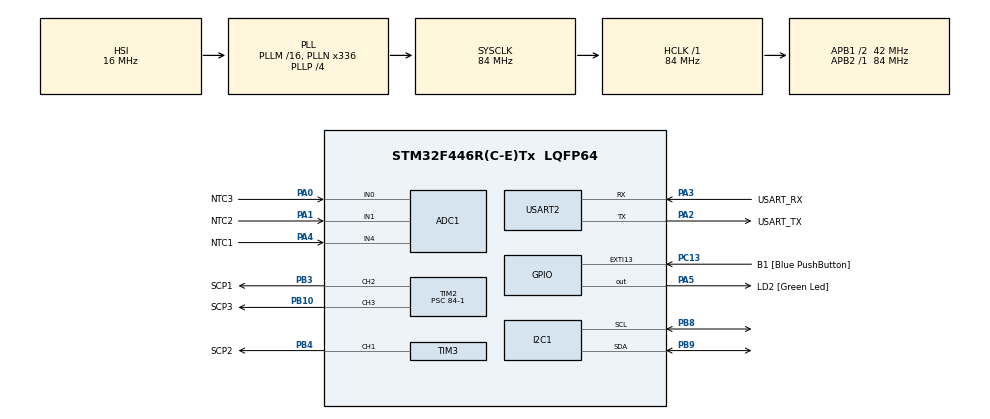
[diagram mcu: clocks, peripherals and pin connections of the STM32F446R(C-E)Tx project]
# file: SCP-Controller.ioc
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ADC1.Channel-0\#ChannelRegularConversion=ADC_CHANNEL_0
ADC1.NbrOfConversionFlag=1
ADC1.Rank-0\#ChannelRegularConversion=1
ADC1.SamplingTime-0\#ChannelRegularConversion=ADC_SAMPLETIME_3CYCLES
ADC1.master=1
Mcu.Family=STM32F4
Mcu.Name=STM32F446R(C-E)Tx
Mcu.Package=LQFP64
NVIC.PriorityGroup=NVIC_PRIORITYGROUP_0
NVIC.USART2_IRQn=true\:0\:0\:false\:false\:true\:true\:true
PA0-WKUP.GPIO_Label=NTC3
PA0-WKUP.Signal=ADCx_IN0
PA1.GPIO_Label=NTC2
PA1.Signal=ADCx_IN1
PA13.GPIO_Label=TMS
PA13.Mode=Serial_Wire
PA13.Signal=SYS_JTMS-SWDIO
PA14.GPIO_Label=TCK
PA14.Mode=Serial_Wire
PA14.Signal=SYS_JTCK-SWCLK
PA2.GPIO_Label=USART_TX
PA2.Mode=Asynchronous
PA2.Signal=USART2_TX
PA3.GPIO_Label=USART_RX
PA3.Mode=Asynchronous
PA3.Signal=USART2_RX
PA4.GPIO_Label=NTC1
PA4.Signal=ADCx_IN4
PA5.GPIO_Label=LD2 [Green Led]
PA5.Signal=GPIO_Output
PB10.GPIO_Label=SCP3
PB10.Signal=S_TIM2_CH3
PB3.GPIO_Label=SCP1
PB3.Signal=S_TIM2_CH2
PB4.GPIO_Label=SCP2
PB4.Signal=S_TIM3_CH1
PB8.Mode=I2C
PB8.Signal=I2C1_SCL
PB9.Mode=I2C
PB9.Signal=I2C1_SDA
PC13.GPIO_Label=B1 [Blue PushButton]
PC13.GPIO_ModeDefaultEXTI=GPIO_MODE_IT_FALLING
PC13.Signal=GPXTI13
PC14-OSC32_IN.Mode=LSE-External-Oscillator
PC14-OSC32_IN.Signal=RCC_OSC32_IN
PC15-OSC32_OUT.Mode=LSE-External-Oscillator
PC15-OSC32_OUT.Signal=RCC_OSC32_OUT
PH0-OSC_IN.Mode=HSE-External-Oscillator
PH0-OSC_IN.Signal=RCC_OSC_IN
PH1-OSC_OUT.Mode=HSE-External-Oscillator
PH1-OSC_OUT.Signal=RCC_OSC_OUT
ProjectManager.HeapSize=0x200
ProjectManager.StackSize=0x400
ProjectManager.TargetToolchain=STM32CubeIDE
RCC.48MHZClocksFreq_Value=84000000
RCC.AHBFreq_Value=84000000
RCC.APB1CLKDivider=RCC_HCLK_DIV2
RCC.APB1Freq_Value=42000000
RCC.APB1TimFreq_Value=84000000
RCC.APB2Freq_Value=84000000
RCC.APB2TimFreq_Value=84000000
RCC.CortexFreq_Value=84000000
RCC.FLatency-AdvancedSettings=FLASH_LATENCY_2
RCC.HCLKFreq_Value=84000000
RCC.HSE_VALUE=8000000
RCC.HSI_VALUE=16000000
RCC.PLLN=336
RCC.PLLP=RCC_PLLP_DIV4
RCC.SYSCLKFreq_VALUE=84000000
RCC.SYSCLKSource=RCC_SYSCLKSOURCE_PLLCLK
RCC.USBFreq_Value=168000000
RCC.VCOOutputFreq_Value=336000000
SH.ADCx_IN0.0=ADC1_IN0,IN0
SH.ADCx_IN1.0=ADC1_IN1,IN1
SH.ADCx_IN4.0=ADC1_IN4,IN4
SH.S_TIM2_CH2.0=TIM2_CH2,PWM Generation2 CH2
SH.S_TIM2_CH3.0=TIM2_CH3,PWM Generation3 CH3
SH.S_TIM3_CH1.0=TIM3_CH1,PWM Generation1 CH1
TIM2.Channel-PWM\ Generation2\ CH2=TIM_CHANNEL_2
TIM2.Channel-PWM\ Generation3\ CH3=TIM_CHANNEL_3
TIM2.Period=100-1
TIM2.Prescaler=84-1
TIM3.Channel-PWM\ Generation1\ CH1=TIM_CHANNEL_1
TIM3.Period=100-1
TIM3.Prescaler=84-1
USART2.VirtualMode=VM_ASYNC
VP_TIM2_VS_ClockSourceINT.Mode=Internal
VP_TIM3_VS_ClockSourceINT.Mode=Internal
board=NUCLEO-F446RE

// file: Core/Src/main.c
/* USER CODE BEGIN Header */
/**
  ******************************************************************************
  * @file           : main.c
  * @brief          : Main program body
  ******************************************************************************
  * @attention
  *
  * <h2><center>&copy; Copyright (c) 2020 STMicroelectronics.
  * All rights reserved.</center></h2>
  *
  * This software component is licensed by ST under BSD 3-Clause license,
  * the "License"; You may not use this file except in compliance with the
  * License. You may obtain a copy of the License at:
  *                        opensource.org/licenses/BSD-3-Clause
  *
  ******************************************************************************
  */
/* USER CODE END Header */

#include "main.h"

/* USER CODE BEGIN Includes */
#include "ina219.h"
#include "serial.h"
#include "ntc.h"
#include "pwm.h"
#include "state_machine.h"

/* USER CODE END Includes */

ADC_HandleTypeDef hadc1;
I2C_HandleTypeDef hi2c1;
TIM_HandleTypeDef htim2;
TIM_HandleTypeDef htim3;
UART_HandleTypeDef huart2;

/* USER CODE BEGIN PV */

float bus_voltage[3];
float current[3];
float power[3];
float temp[3];
uint8_t pwm[3];

/* USER CODE END PV */

void SystemClock_Config(void);
static void MX_GPIO_Init(void);
static void MX_USART2_UART_Init(void);
static void MX_ADC1_Init(void);
static void MX_I2C1_Init(void);
static void MX_TIM2_Init(void);
static void MX_TIM3_Init(void);

int main(void)
{

  /* MCU Configuration--------------------------------------------------------*/

  /* Reset of all peripherals, Initializes the Flash interface and the Systick. */
  HAL_Init();

  /* Configure the system clock */
  SystemClock_Config();

  /* Initialize all configured peripherals */
  MX_GPIO_Init();
  MX_USART2_UART_Init();
  MX_ADC1_Init();
  MX_I2C1_Init();
  MX_TIM2_Init();
  MX_TIM3_Init();
  /* USER CODE BEGIN 2 */

  // initialize custom libraries
  InitializeI2C(&hi2c1);
  InitializeUART(&huart2);
  InitializeADC(&hadc1);
  InitializeTIM(&htim2, &htim3, &htim2);

  Set_32V_2A6(INA219_ADDRESS_1);
  Set_32V_2A6(INA219_ADDRESS_2);
  Set_32V_2A6(INA219_ADDRESS_3);

  // Set all PWM to 0%
  SetPWM_SCP1(0);
  SetPWM_SCP2(0);
  SetPWM_SCP3(0);

  /* USER CODE END 2 */

  /* Infinite loop */
  /* USER CODE BEGIN WHILE */
  while (1)
  {
	  // TODO: put this in a loop
	  bus_voltage[0] = GetBusVoltage_V(INA219_ADDRESS_1);
	  current[0]     = GetCurrent_mA(INA219_ADDRESS_1);
	  power[0]       = GetPower_mW(INA219_ADDRESS_1);

	  bus_voltage[1] = GetBusVoltage_V(INA219_ADDRESS_2);
	  current[1]     = GetCurrent_mA(INA219_ADDRESS_2);
	  power[1]       = GetPower_mW(INA219_ADDRESS_2);

	  bus_voltage[2] = GetBusVoltage_V(INA219_ADDRESS_3);
	  current[2]     = GetCurrent_mA(INA219_ADDRESS_3);
	  power[2]       = GetPower_mW(INA219_ADDRESS_3);

	  temp[0] = GetTemp_C(NTC1);
	  temp[1] = GetTemp_C(NTC2);
	  temp[2] = GetTemp_C(NTC3);

	  pwm[0] = fsm_controller(SCP1_INDEX, temp[0]);
	  pwm[1] = fsm_controller(SCP2_INDEX, temp[1]);
	  pwm[2] = fsm_controller(SCP3_INDEX, temp[2]);

	  SendDataPacket(bus_voltage[0], current[0], power[0], temp[0],
			         bus_voltage[1], current[1], power[1], temp[1],
					 bus_voltage[2], current[2], power[2], temp[2],
					 pwm[0], pwm[1], pwm[2]);

	  HAL_Delay(50);

    /* USER CODE END WHILE */

  }
}

void SystemClock_Config(void)
{
  RCC_OscInitTypeDef RCC_OscInitStruct = {0};
  RCC_ClkInitTypeDef RCC_ClkInitStruct = {0};

  /** Configure the main internal regulator output voltage
  */
  __HAL_RCC_PWR_CLK_ENABLE();
  __HAL_PWR_VOLTAGESCALING_CONFIG(PWR_REGULATOR_VOLTAGE_SCALE3);
  /** Initializes the CPU, AHB and APB busses clocks
  */
  RCC_OscInitStruct.OscillatorType = RCC_OSCILLATORTYPE_HSI;
  RCC_OscInitStruct.HSIState = RCC_HSI_ON;
  RCC_OscInitStruct.HSICalibrationValue = RCC_HSICALIBRATION_DEFAULT;
  RCC_OscInitStruct.PLL.PLLState = RCC_PLL_ON;
  RCC_OscInitStruct.PLL.PLLSource = RCC_PLLSOURCE_HSI;
  RCC_OscInitStruct.PLL.PLLM = 16;
  RCC_OscInitStruct.PLL.PLLN = 336;
  RCC_OscInitStruct.PLL.PLLP = RCC_PLLP_DIV4;
  RCC_OscInitStruct.PLL.PLLQ = 2;
  RCC_OscInitStruct.PLL.PLLR = 2;
  if (HAL_RCC_OscConfig(&RCC_OscInitStruct) != HAL_OK)
  {
    Error_Handler();
  }
  /** Initializes the CPU, AHB and APB busses clocks
  */
  RCC_ClkInitStruct.ClockType = RCC_CLOCKTYPE_HCLK|RCC_CLOCKTYPE_SYSCLK
                              |RCC_CLOCKTYPE_PCLK1|RCC_CLOCKTYPE_PCLK2;
  RCC_ClkInitStruct.SYSCLKSource = RCC_SYSCLKSOURCE_PLLCLK;
  RCC_ClkInitStruct.AHBCLKDivider = RCC_SYSCLK_DIV1;
  RCC_ClkInitStruct.APB1CLKDivider = RCC_HCLK_DIV2;
  RCC_ClkInitStruct.APB2CLKDivider = RCC_HCLK_DIV1;

  if (HAL_RCC_ClockConfig(&RCC_ClkInitStruct, FLASH_LATENCY_2) != HAL_OK)
  {
    Error_Handler();
  }
}

static void MX_ADC1_Init(void)
{

  ADC_ChannelConfTypeDef sConfig = {0};

  /** Configure the global features of the ADC (Clock, Resolution, Data Alignment and number of conversion)
  */
  hadc1.Instance = ADC1;
  hadc1.Init.ClockPrescaler = ADC_CLOCK_SYNC_PCLK_DIV4;
  hadc1.Init.Resolution = ADC_RESOLUTION_12B;
  hadc1.Init.ScanConvMode = DISABLE;
  hadc1.Init.ContinuousConvMode = DISABLE;
  hadc1.Init.DiscontinuousConvMode = DISABLE;
  hadc1.Init.ExternalTrigConvEdge = ADC_EXTERNALTRIGCONVEDGE_NONE;
  hadc1.Init.ExternalTrigConv = ADC_SOFTWARE_START;
  hadc1.Init.DataAlign = ADC_DATAALIGN_RIGHT;
  hadc1.Init.NbrOfConversion = 1;
  hadc1.Init.DMAContinuousRequests = DISABLE;
  hadc1.Init.EOCSelection = ADC_EOC_SINGLE_CONV;
  if (HAL_ADC_Init(&hadc1) != HAL_OK)
  {
    Error_Handler();
  }
  /** Configure for the selected ADC regular channel its corresponding rank in the sequencer and its sample time.
  */
  sConfig.Channel = ADC_CHANNEL_0;
  sConfig.Rank = 1;
  sConfig.SamplingTime = ADC_SAMPLETIME_3CYCLES;
  if (HAL_ADC_ConfigChannel(&hadc1, &sConfig) != HAL_OK)
  {
    Error_Handler();
  }

}

static void MX_I2C1_Init(void)
{

  hi2c1.Instance = I2C1;
  hi2c1.Init.ClockSpeed = 100000;
  hi2c1.Init.DutyCycle = I2C_DUTYCYCLE_2;
  hi2c1.Init.OwnAddress1 = 0;
  hi2c1.Init.AddressingMode = I2C_ADDRESSINGMODE_7BIT;
  hi2c1.Init.DualAddressMode = I2C_DUALADDRESS_DISABLE;
  hi2c1.Init.OwnAddress2 = 0;
  hi2c1.Init.GeneralCallMode = I2C_GENERALCALL_DISABLE;
  hi2c1.Init.NoStretchMode = I2C_NOSTRETCH_DISABLE;
  if (HAL_I2C_Init(&hi2c1) != HAL_OK)
  {
    Error_Handler();
  }

}

static void MX_TIM2_Init(void)
{

  TIM_ClockConfigTypeDef sClockSourceConfig = {0};
  TIM_MasterConfigTypeDef sMasterConfig = {0};
  TIM_OC_InitTypeDef sConfigOC = {0};

  htim2.Instance = TIM2;
  htim2.Init.Prescaler = 84-1;
  htim2.Init.CounterMode = TIM_COUNTERMODE_UP;
  htim2.Init.Period = 100-1;
  htim2.Init.ClockDivision = TIM_CLOCKDIVISION_DIV1;
  htim2.Init.AutoReloadPreload = TIM_AUTORELOAD_PRELOAD_DISABLE;
  if (HAL_TIM_Base_Init(&htim2) != HAL_OK)
  {
    Error_Handler();
  }
  sClockSourceConfig.ClockSource = TIM_CLOCKSOURCE_INTERNAL;
  if (HAL_TIM_ConfigClockSource(&htim2, &sClockSourceConfig) != HAL_OK)
  {
    Error_Handler();
  }
  if (HAL_TIM_PWM_Init(&htim2) != HAL_OK)
  {
    Error_Handler();
  }
  sMasterConfig.MasterOutputTrigger = TIM_TRGO_RESET;
  sMasterConfig.MasterSlaveMode = TIM_MASTERSLAVEMODE_DISABLE;
  if (HAL_TIMEx_MasterConfigSynchronization(&htim2, &sMasterConfig) != HAL_OK)
  {
    Error_Handler();
  }
  sConfigOC.OCMode = TIM_OCMODE_PWM1;
  sConfigOC.Pulse = 0;
  sConfigOC.OCPolarity = TIM_OCPOLARITY_HIGH;
  sConfigOC.OCFastMode = TIM_OCFAST_DISABLE;
  if (HAL_TIM_PWM_ConfigChannel(&htim2, &sConfigOC, TIM_CHANNEL_2) != HAL_OK)
  {
    Error_Handler();
  }
  if (HAL_TIM_PWM_ConfigChannel(&htim2, &sConfigOC, TIM_CHANNEL_3) != HAL_OK)
  {
    Error_Handler();
  }
  HAL_TIM_MspPostInit(&htim2);

}

static void MX_TIM3_Init(void)
{

  TIM_ClockConfigTypeDef sClockSourceConfig = {0};
  TIM_MasterConfigTypeDef sMasterConfig = {0};
  TIM_OC_InitTypeDef sConfigOC = {0};

  htim3.Instance = TIM3;
  htim3.Init.Prescaler = 84-1;
  htim3.Init.CounterMode = TIM_COUNTERMODE_UP;
  htim3.Init.Period = 100-1;
  htim3.Init.ClockDivision = TIM_CLOCKDIVISION_DIV1;
  htim3.Init.AutoReloadPreload = TIM_AUTORELOAD_PRELOAD_DISABLE;
  if (HAL_TIM_Base_Init(&htim3) != HAL_OK)
  {
    Error_Handler();
  }
  sClockSourceConfig.ClockSource = TIM_CLOCKSOURCE_INTERNAL;
  if (HAL_TIM_ConfigClockSource(&htim3, &sClockSourceConfig) != HAL_OK)
  {
    Error_Handler();
  }
  if (HAL_TIM_PWM_Init(&htim3) != HAL_OK)
  {
    Error_Handler();
  }
  sMasterConfig.MasterOutputTrigger = TIM_TRGO_RESET;
  sMasterConfig.MasterSlaveMode = TIM_MASTERSLAVEMODE_DISABLE;
  if (HAL_TIMEx_MasterConfigSynchronization(&htim3, &sMasterConfig) != HAL_OK)
  {
    Error_Handler();
  }
  sConfigOC.OCMode = TIM_OCMODE_PWM1;
  sConfigOC.Pulse = 0;
  sConfigOC.OCPolarity = TIM_OCPOLARITY_HIGH;
  sConfigOC.OCFastMode = TIM_OCFAST_DISABLE;
  if (HAL_TIM_PWM_ConfigChannel(&htim3, &sConfigOC, TIM_CHANNEL_1) != HAL_OK)
  {
    Error_Handler();
  }
  HAL_TIM_MspPostInit(&htim3);

}

static void MX_USART2_UART_Init(void)
{

  huart2.Instance = USART2;
  huart2.Init.BaudRate = 115200;
  huart2.Init.WordLength = UART_WORDLENGTH_8B;
  huart2.Init.StopBits = UART_STOPBITS_1;
  huart2.Init.Parity = UART_PARITY_NONE;
  huart2.Init.Mode = UART_MODE_TX_RX;
  huart2.Init.HwFlowCtl = UART_HWCONTROL_NONE;
  huart2.Init.OverSampling = UART_OVERSAMPLING_16;
  if (HAL_UART_Init(&huart2) != HAL_OK)
  {
    Error_Handler();
  }

}

static void MX_GPIO_Init(void)
{
  GPIO_InitTypeDef GPIO_InitStruct = {0};

  /* GPIO Ports Clock Enable */
  __HAL_RCC_GPIOC_CLK_ENABLE();
  __HAL_RCC_GPIOH_CLK_ENABLE();
  __HAL_RCC_GPIOA_CLK_ENABLE();
  __HAL_RCC_GPIOB_CLK_ENABLE();

  /*Configure GPIO pin Output Level */
  HAL_GPIO_WritePin(LD2_GPIO_Port, LD2_Pin, GPIO_PIN_RESET);

  /*Configure GPIO pin : B1_Pin */
  GPIO_InitStruct.Pin = B1_Pin;
  GPIO_InitStruct.Mode = GPIO_MODE_IT_FALLING;
  GPIO_InitStruct.Pull = GPIO_NOPULL;
  HAL_GPIO_Init(B1_GPIO_Port, &GPIO_InitStruct);

  /*Configure GPIO pin : LD2_Pin */
  GPIO_InitStruct.Pin = LD2_Pin;
  GPIO_InitStruct.Mode = GPIO_MODE_OUTPUT_PP;
  GPIO_InitStruct.Pull = GPIO_NOPULL;
  GPIO_InitStruct.Speed = GPIO_SPEED_FREQ_LOW;
  HAL_GPIO_Init(LD2_GPIO_Port, &GPIO_InitStruct);

}

void Error_Handler(void)
{
}

/************************ (C) COPYRIGHT STMicroelectronics *****END OF FILE****/
